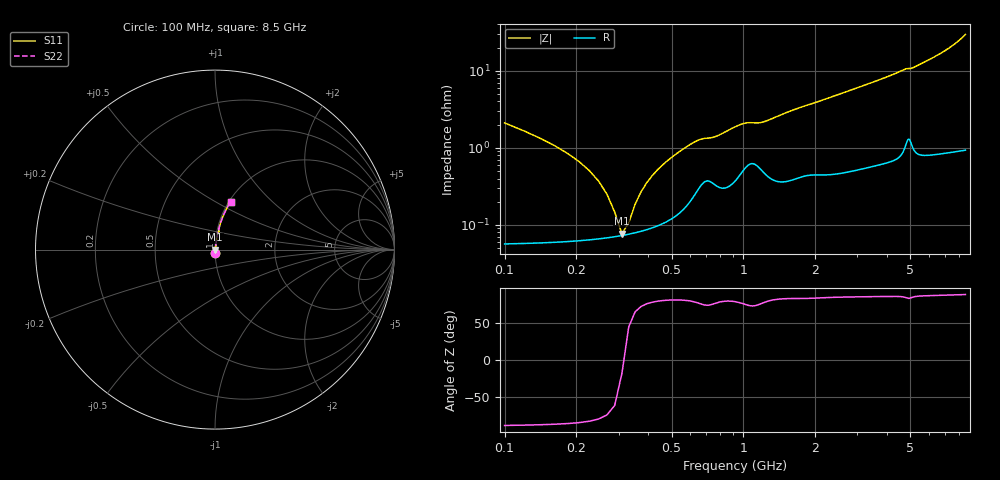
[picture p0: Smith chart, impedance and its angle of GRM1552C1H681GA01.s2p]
!Murata Part Number: GRM1552C1H681GA01
!These Parameters are Measured in Series Mode Connection
!Data Generated on Mar 30, 2021
!  o--ll--o
!Port1  Port2
!  o------o
!Operation Temp=25[degC], DC Bias Voltage=0[V]
!Freq. Start=100[MHz] Stop=9[GHz] 401[Steps]
# Hz S RI R 50
!Freq.(Hz) S11(Real) S11(Imag) S21(Real) S21(Imag) S12(Real) S12(Imag) S22(Real) S22(Imag)
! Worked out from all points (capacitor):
!   401 points, 100 MHz to 8.5 GHz, reference 50 ohm
!   read as one part in series: C = 678 pF near 142 MHz
!   lowest |Z| = 76.7 mohm at 310 MHz (marker M1)
!   series resonance near 315 MHz, so ESL is about 380 pH
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1e8  0.00101 -0.021  0.999 0.021  0.999 0.021  0.00101 -0.021
1.42e8  0.000757 -0.0131  0.9992 0.0131  0.9992 0.0131  0.000757 -0.0131
2.05e8  0.000666 -0.0066  0.9993 0.0066  0.9993 0.0066  0.000666 -0.0066
2.26e8  0.000665 -0.00505  0.9993 0.00505  0.9993 0.00505  0.000665 -0.00505
2.68e8  0.000685 -0.00243  0.9993 0.00243  0.9993 0.00243  0.000685 -0.00243
2.89e8  0.000704 -0.00129  0.9993 0.00129  0.9993 0.00129  0.000704 -0.00129
3.1e8  0.000729 -0.000237  0.9993 0.000237  0.9993 0.000237  0.000729 -0.000237
3.31e8  0.000758 0.00075  0.9992 -0.00075  0.9992 -0.00075  0.000758 0.00075
3.52e8  0.000793 0.00168  0.9992 -0.00168  0.9992 -0.00168  0.000793 0.00168
3.94e8  0.00088 0.00343  0.9991 -0.00343  0.9991 -0.00343  0.00088 0.00343
4.57e8  0.00106 0.00584  0.9989 -0.00584  0.9989 -0.00584  0.00106 0.00584
5.41e8  0.00151 0.00887  0.9985 -0.00887  0.9985 -0.00887  0.00151 0.00887
6.25e8  0.00258 0.0117  0.9974 -0.0117  0.9974 -0.0117  0.00258 0.0117
9.82e8  0.0051 0.0196  0.9949 -0.0196  0.9949 -0.0196  0.0051 0.0196
1.213e9  0.00524 0.021  0.9948 -0.021  0.9948 -0.021  0.00524 0.021
1.507e9  0.00443 0.0281  0.9956 -0.0281  0.9956 -0.0281  0.00443 0.0281
2.053e9  0.00598 0.0392  0.994 -0.0392  0.994 -0.0392  0.00598 0.0392
2.914e9  0.00835 0.0574  0.9917 -0.0574  0.9917 -0.0574  0.00835 0.0574
4.3e9  0.015 0.0894  0.985 -0.0894  0.985 -0.0894  0.015 0.0894
5.707e9  0.0239 0.1251  0.9761 -0.1251  0.9761 -0.1251  0.0239 0.1251
7.114e9  0.0423 0.1799  0.9577 -0.1799  0.9577 -0.1799  0.0423 0.1799
8.5e9  0.0878 0.2678  0.9122 -0.2678  0.9122 -0.2678  0.0878 0.2678
